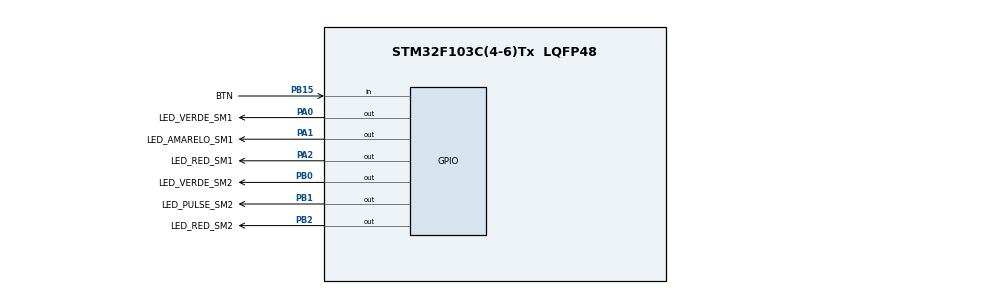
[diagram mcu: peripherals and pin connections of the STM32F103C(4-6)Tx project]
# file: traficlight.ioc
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Mcu.Family=STM32F1
Mcu.Name=STM32F103C(4-6)Tx
Mcu.Package=LQFP48
NVIC.PriorityGroup=NVIC_PRIORITYGROUP_4
PA0-WKUP.GPIO_Label=LED_VERDE_SM1
PA0-WKUP.Signal=GPIO_Output
PA1.GPIO_Label=LED_AMARELO_SM1
PA1.Signal=GPIO_Output
PA2.GPIO_Label=LED_RED_SM1
PA2.Signal=GPIO_Output
PB0.GPIO_Label=LED_VERDE_SM2
PB0.Signal=GPIO_Output
PB1.GPIO_Label=LED_PULSE_SM2
PB1.Signal=GPIO_Output
PB15.GPIO_Label=BTN
PB15.Signal=GPIO_Input
PB2.GPIO_Label=LED_RED_SM2
PB2.Signal=GPIO_Output
ProjectManager.HeapSize=0x200
ProjectManager.StackSize=0x400
ProjectManager.TargetToolchain=STM32CubeIDE
RCC.APB1Freq_Value=8000000
RCC.APB2Freq_Value=8000000
VP_SYS_VS_ND.Mode=No_Debug
board=custom

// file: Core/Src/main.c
/* USER CODE BEGIN Header */
/**
  ******************************************************************************
  * @file           : main.c
  * @brief          : Main program body
  ******************************************************************************
  * @attention
  *
  * Copyright (c) 2022 STMicroelectronics.
  * All rights reserved.
  *
  * This software is licensed under terms that can be found in the LICENSE file
  * in the root directory of this software component.
  * If no LICENSE file comes with this software, it is provided AS-IS.
  *
  ******************************************************************************
  */
/* USER CODE END Header */
#include "main.h"

void SystemClock_Config(void);
static void MX_GPIO_Init(void);

int main(void)
{

  /* MCU Configuration--------------------------------------------------------*/

  /* Reset of all peripherals, Initializes the Flash interface and the Systick. */
  HAL_Init();

  /* Configure the system clock */
  SystemClock_Config();

  /* Initialize all configured peripherals */
  MX_GPIO_Init();
  /* USER CODE BEGIN 2 */
  HAL_GPIO_WritePin(LED_VERDE_SM1_GPIO_Port, LED_VERDE_SM1_Pin, SET);
  HAL_GPIO_WritePin(LED_AMARELO_SM1_GPIO_Port, LED_AMARELO_SM1_Pin, RESET);
  HAL_GPIO_WritePin(LED_RED_SM1_GPIO_Port, LED_RED_SM1_Pin, RESET);
  HAL_GPIO_WritePin(LED_VERDE_SM2_GPIO_Port, LED_VERDE_SM1_Pin, RESET);
  HAL_GPIO_WritePin(LED_RED_SM2_GPIO_Port, LED_RED_SM2_Pin, SET);
  /* Setando botão como false */
  HAL_GPIO_WritePin(BTN_GPIO_Port, BTN_Pin, SET);
  /* USER CODE END 2 */

  /* Infinite loop */
  while (1)
  {

    /* USER CODE BEGIN 3 */
	  /* CASO: BTN PRESSED E SM1 VERDE*/
	  if(HAL_GPIO_ReadPin(BTN_GPIO_Port, BTN_Pin) && HAL_GPIO_ReadPin(LED_VERDE_SM1_GPIO_Port, LED_VERDE_SM1_Pin)){
		  HAL_Delay(2000);
		  HAL_GPIO_WritePin(LED_VERDE_SM1_GPIO_Port, LED_VERDE_SM1_Pin, RESET);
		  HAL_Delay(500);
		  HAL_GPIO_WritePin(LED_AMARELO_SM1_GPIO_Port, LED_AMARELO_SM1_Pin, SET);

		  HAL_Delay(2000);
		  HAL_GPIO_WritePin(LED_AMARELO_SM1_GPIO_Port, LED_AMARELO_SM1_Pin, RESET);
		  HAL_Delay(500);
		  HAL_GPIO_WritePin(LED_RED_SM1_GPIO_Port, LED_RED_SM1_Pin, SET);

		  /*SM2*/
		  HAL_Delay(500);
		  HAL_GPIO_WritePin(LED_RED_SM2_GPIO_Port, LED_RED_SM2_Pin, RESET);
		  HAL_Delay(500);
		  HAL_GPIO_WritePin(LED_VERDE_SM2_GPIO_Port, LED_VERDE_SM2_Pin, SET);
		  HAL_Delay(1500);
	  }
	  /*CASO: BTN not pressed e SM1 VERMELHO*/
	  else if(HAL_GPIO_ReadPin(BTN_GPIO_Port, BTN_Pin) == 0 && HAL_GPIO_ReadPin(LED_RED_SM1_GPIO_Port, LED_RED_SM1_Pin)){
		        /*SM2*/
		  		HAL_Delay(1000);
		  		HAL_GPIO_WritePin(LED_VERDE_SM2_GPIO_Port, LED_VERDE_SM2_Pin, RESET);
		  		HAL_Delay(500);
		  		HAL_GPIO_WritePin(LED_RED_SM2_GPIO_Port, LED_RED_SM2_Pin, SET);

		          HAL_Delay(2000);
		  		  HAL_GPIO_WritePin(LED_RED_SM1_GPIO_Port, LED_RED_SM1_Pin, RESET);

		  		  HAL_Delay(500);
		  		  HAL_GPIO_WritePin(LED_VERDE_SM1_GPIO_Port, LED_VERDE_SM1_Pin, SET);

	  }

	  /*CASO: BTN not pressed e SM1 VERDE*/
	      else if(HAL_GPIO_ReadPin(BTN_GPIO_Port, BTN_Pin) == 0 && HAL_GPIO_ReadPin(LED_VERDE_SM1_GPIO_Port, LED_VERDE_SM1_Pin)){
		  HAL_Delay(2000);
		  HAL_GPIO_WritePin(LED_VERDE_SM1_GPIO_Port, LED_VERDE_SM1_Pin, RESET);
		  HAL_Delay(500);
		  HAL_GPIO_WritePin(LED_AMARELO_SM1_GPIO_Port, LED_AMARELO_SM1_Pin, SET);

		  HAL_Delay(2000);
		  HAL_GPIO_WritePin(LED_AMARELO_SM1_GPIO_Port, LED_AMARELO_SM1_Pin, RESET);
		  HAL_Delay(500);
		  HAL_GPIO_WritePin(LED_RED_SM1_GPIO_Port, LED_RED_SM1_Pin, SET);

		  /*SM2*/
		  HAL_Delay(1000);
		  HAL_GPIO_WritePin(LED_RED_SM2_GPIO_Port, LED_RED_SM2_Pin, RESET);
		  HAL_Delay(500);
		  HAL_GPIO_WritePin(LED_VERDE_SM2_GPIO_Port, LED_VERDE_SM2_Pin, SET);
	  }
  }
  /* USER CODE END 3 */
}

void SystemClock_Config(void)
{
  RCC_OscInitTypeDef RCC_OscInitStruct = {0};
  RCC_ClkInitTypeDef RCC_ClkInitStruct = {0};

  /** Initializes the RCC Oscillators according to the specified parameters
  * in the RCC_OscInitTypeDef structure.
  */
  RCC_OscInitStruct.OscillatorType = RCC_OSCILLATORTYPE_HSI;
  RCC_OscInitStruct.HSIState = RCC_HSI_ON;
  RCC_OscInitStruct.HSICalibrationValue = RCC_HSICALIBRATION_DEFAULT;
  RCC_OscInitStruct.PLL.PLLState = RCC_PLL_NONE;
  if (HAL_RCC_OscConfig(&RCC_OscInitStruct) != HAL_OK)
  {
    Error_Handler();
  }
  /** Initializes the CPU, AHB and APB buses clocks
  */
  RCC_ClkInitStruct.ClockType = RCC_CLOCKTYPE_HCLK|RCC_CLOCKTYPE_SYSCLK
                              |RCC_CLOCKTYPE_PCLK1|RCC_CLOCKTYPE_PCLK2;
  RCC_ClkInitStruct.SYSCLKSource = RCC_SYSCLKSOURCE_HSI;
  RCC_ClkInitStruct.AHBCLKDivider = RCC_SYSCLK_DIV1;
  RCC_ClkInitStruct.APB1CLKDivider = RCC_HCLK_DIV1;
  RCC_ClkInitStruct.APB2CLKDivider = RCC_HCLK_DIV1;

  if (HAL_RCC_ClockConfig(&RCC_ClkInitStruct, FLASH_LATENCY_0) != HAL_OK)
  {
    Error_Handler();
  }
}

static void MX_GPIO_Init(void)
{
  GPIO_InitTypeDef GPIO_InitStruct = {0};

  /* GPIO Ports Clock Enable */
  __HAL_RCC_GPIOA_CLK_ENABLE();
  __HAL_RCC_GPIOB_CLK_ENABLE();

  /*Configure GPIO pin Output Level */
  HAL_GPIO_WritePin(GPIOA, LED_VERDE_SM1_Pin|LED_AMARELO_SM1_Pin|LED_RED_SM1_Pin, GPIO_PIN_RESET);

  /*Configure GPIO pin Output Level */
  HAL_GPIO_WritePin(GPIOB, LED_VERDE_SM2_Pin|LED_PULSE_SM2_Pin|LED_RED_SM2_Pin, GPIO_PIN_RESET);

  /*Configure GPIO pins : LED_VERDE_SM1_Pin LED_AMARELO_SM1_Pin LED_RED_SM1_Pin */
  GPIO_InitStruct.Pin = LED_VERDE_SM1_Pin|LED_AMARELO_SM1_Pin|LED_RED_SM1_Pin;
  GPIO_InitStruct.Mode = GPIO_MODE_OUTPUT_PP;
  GPIO_InitStruct.Pull = GPIO_NOPULL;
  GPIO_InitStruct.Speed = GPIO_SPEED_FREQ_LOW;
  HAL_GPIO_Init(GPIOA, &GPIO_InitStruct);

  /*Configure GPIO pins : LED_VERDE_SM2_Pin LED_PULSE_SM2_Pin LED_RED_SM2_Pin */
  GPIO_InitStruct.Pin = LED_VERDE_SM2_Pin|LED_PULSE_SM2_Pin|LED_RED_SM2_Pin;
  GPIO_InitStruct.Mode = GPIO_MODE_OUTPUT_PP;
  GPIO_InitStruct.Pull = GPIO_NOPULL;
  GPIO_InitStruct.Speed = GPIO_SPEED_FREQ_LOW;
  HAL_GPIO_Init(GPIOB, &GPIO_InitStruct);

  /*Configure GPIO pin : BTN_Pin */
  GPIO_InitStruct.Pin = BTN_Pin;
  GPIO_InitStruct.Mode = GPIO_MODE_INPUT;
  GPIO_InitStruct.Pull = GPIO_NOPULL;
  HAL_GPIO_Init(BTN_GPIO_Port, &GPIO_InitStruct);

}

void Error_Handler(void)
{
  __disable_irq();
  while (1)
  {
  }
}
